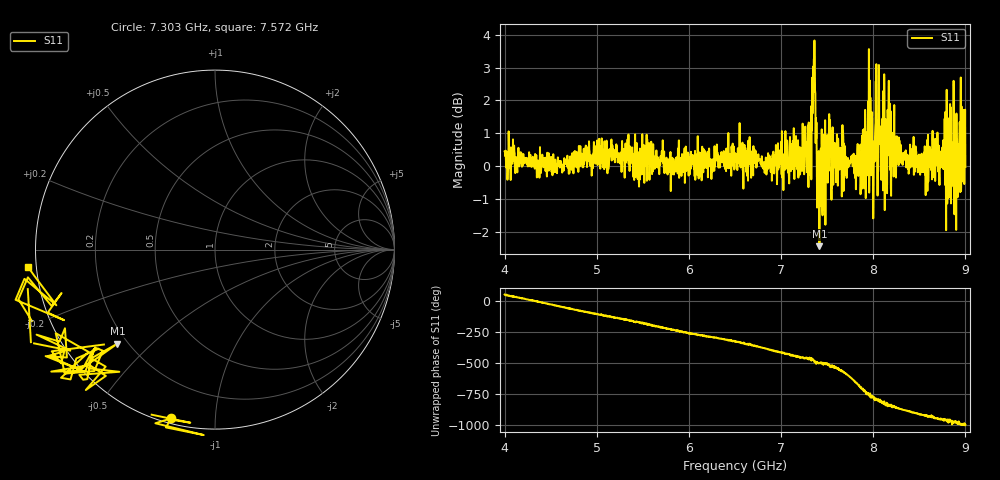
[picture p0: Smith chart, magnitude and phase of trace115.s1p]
! Created with skrf 1.8.0 (http://scikit-rf.org).
# Hz S RI R 50.0
!freq ReS11 ImS11
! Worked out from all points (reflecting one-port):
!   1601 points, 4 GHz to 9 GHz, reference 50 ohm
!   lowest |S11| = -2.4 dB at 7.416 GHz (marker M1), VSWR 7.17, Z = 8.08 - j19.7 ohm
!   phase of S11 starts at 53 deg and turns -1049 deg over the sweep
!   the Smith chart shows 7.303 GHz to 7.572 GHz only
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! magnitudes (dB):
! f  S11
! 4 GHz  0.4
! 4.625 GHz  -0.2
! 5.25 GHz  0.1
! 5.875 GHz  0.2
! 6.5 GHz  0.3
! 7.125 GHz  0.1
! 7.303 GHz  -0.3
! 7.356 GHz  3.3
! 7.375 GHz  0.7
! 7.4 GHz  0.1
! 7.416 GHz  -2.4
! 7.438 GHz  -0.4
! 7.512 GHz  0.8
! 7.591 GHz  0.0
! 7.75 GHz  0.1
! 7.884 GHz  -0.7
! 7.95 GHz  0.6
! 8 GHz  -1.6
! 8.044 GHz  0.6
! 8.066 GHz  0.7
! 8.162 GHz  1.2
! 8.209 GHz  0.7
! 8.375 GHz  0.3
! 8.566 GHz  0.5
! 8.822 GHz  0.7
! 8.875 GHz  0.3
! 8.959 GHz  1.8
! 9 GHz  0.0
